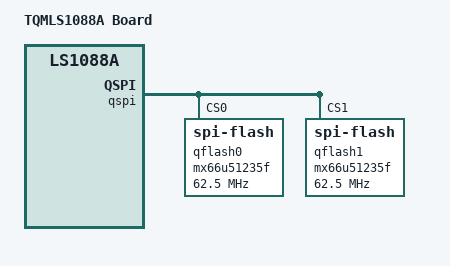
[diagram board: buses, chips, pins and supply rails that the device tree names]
// SPDX-License-Identifier: GPL-2.0+
/*
 * Device Tree file for TQ Systems TQMLS1088A SoC module.
 *
 * Copyright 2019 TQ-Systems GmbH
 */

/dts-v1/;
/include/ "fsl-ls1088a.dtsi"

/ {
	model = "TQMLS1088A Board";

	aliases {
		spi0 = &qspi;
	};

};

&qspi {
	bus-num = <0>;
	spi-max-frequency = <62500000>;
	status = "okay";

	qflash0: mx66u51235f@0 {
		#address-cells = <1>;
		#size-cells = <1>;
		compatible = "spi-flash";
		spi-max-frequency = <62500000>;
		reg = <0>;
	};

	qflash1: mx66u51235f@1 {
		#address-cells = <1>;
		#size-cells = <1>;
		compatible = "spi-flash";
		spi-max-frequency = <62500000>;
		reg = <1>;
	 };
};
